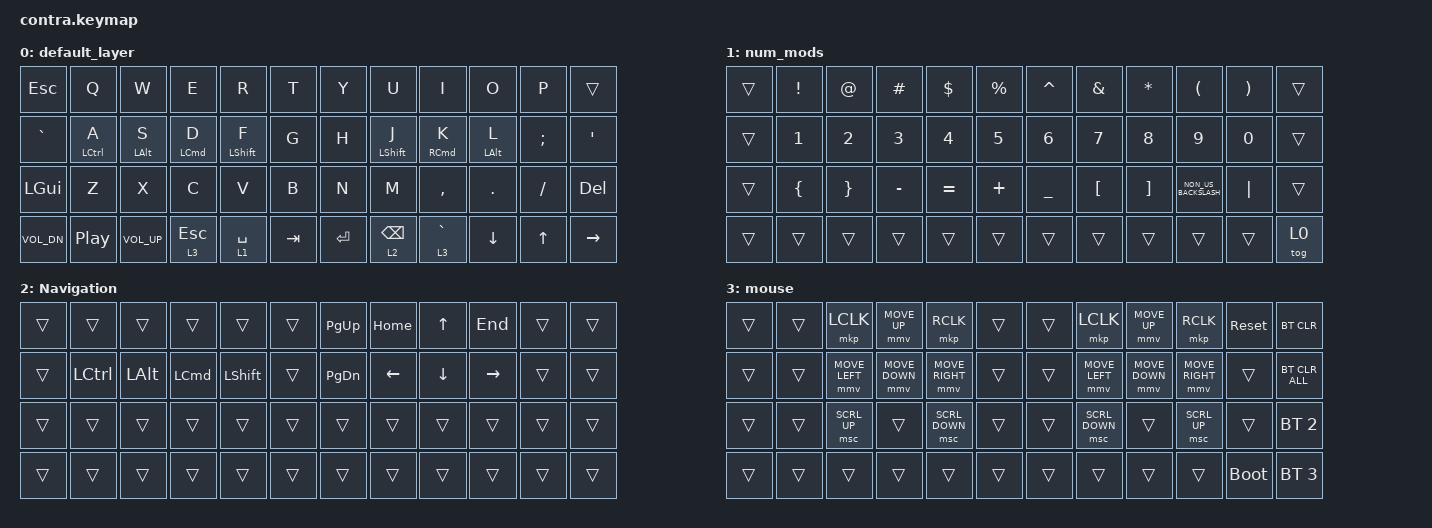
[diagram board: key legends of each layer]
/*
 * Copyright (c) 2021 The ZMK Contributors
 *
 * SPDX-License-Identifier: MIT
 */

#include <dt-bindings/zmk/mouse.h>

#define ZMK_POINTING_DEFAULT_MOVE_VAL 1500  // default: 600
#define ZMK_POINTING_DEFAULT_SCRL_VAL 10    // default: 10

#include <behaviors.dtsi>
#include <dt-bindings/zmk/bt.h>
#include <dt-bindings/zmk/keys.h>
#include <dt-bindings/zmk/pointing.h>

/ {
    behaviors {
        ModTap: ModTap {
            compatible = "zmk,behavior-hold-tap";
            label = "MODTAP";
            bindings = <&kp>, <&kp>;

            #binding-cells = <2>;
            tapping-term-ms = <200>;
            flavor = "tap-preferred";
        };
    };

    keymap {
        compatible = "zmk,keymap";

        default_layer {
            bindings = <
&kp ESCAPE    &kp Q                   &kp W               &kp E                   &kp R                 &kp T    &kp Y      &kp U                 &kp I                    &kp O               &kp P         &trans
&kp GRAVE     &ModTap LEFT_CONTROL A  &ModTap LEFT_ALT S  &ModTap LEFT_COMMAND D  &ModTap LEFT_SHIFT F  &kp G    &kp H      &ModTap LEFT_SHIFT J  &ModTap RIGHT_COMMAND K  &ModTap LEFT_ALT L  &kp SEMI      &kp SQT
&kp LEFT_GUI  &kp Z                   &kp X               &kp C                   &kp V                 &kp B    &kp N      &kp M                 &kp COMMA                &kp DOT             &kp FSLH      &kp DELETE
&kp C_VOL_DN  &kp C_PLAY_PAUSE        &kp C_VOL_UP        &lt 3 ESCAPE            &lt 1 SPACE           &kp TAB  &kp ENTER  &lt 2 BACKSPACE       &lt 3 GRAVE              &kp DOWN            &kp UP_ARROW  &kp RIGHT
            >;
        };

        num_mods {
            bindings = <
&trans  &kp EXCLAMATION  &kp AT_SIGN      &kp HASH      &kp DOLLAR    &kp PERCENT  &kp CARET     &kp AMPERSAND     &kp ASTERISK       &kp LEFT_PARENTHESIS  &kp RIGHT_PARENTHESIS  &trans
&trans  &kp NUMBER_1     &kp NUMBER_2     &kp NUMBER_3  &kp NUMBER_4  &kp N5       &kp NUMBER_6  &kp N7            &kp N8             &kp N9                &kp N0                 &trans
&trans  &kp LEFT_BRACE   &kp RIGHT_BRACE  &kp MINUS     &kp EQUAL     &kp PLUS     &kp UNDER     &kp LEFT_BRACKET  &kp RIGHT_BRACKET  &kp NON_US_BACKSLASH  &kp PIPE               &trans
&trans  &trans           &trans           &trans        &trans        &trans       &trans        &trans            &trans             &trans                &trans                 &tog 0
            >;
        };

        Navigation {
            bindings = <
&trans  &trans            &trans        &trans            &trans     &trans  &kp PG_UP  &kp HOME        &kp UP_ARROW  &kp END    &trans  &trans
&trans  &kp LEFT_CONTROL  &kp LEFT_ALT  &kp LEFT_COMMAND  &kp LSHFT  &trans  &kp PG_DN  &kp LEFT_ARROW  &kp DOWN      &kp RIGHT  &trans  &trans
&trans  &trans            &trans        &trans            &trans     &trans  &trans     &trans          &trans        &trans     &trans  &trans
&trans  &trans            &trans        &trans            &trans     &trans  &trans     &trans          &trans        &trans     &trans  &trans
            >;
        };

        mouse {
            bindings = <
&trans  &trans  &mkp LCLK       &mmv MOVE_UP    &mkp RCLK        &trans  &trans  &mkp LCLK       &mmv MOVE_UP    &mkp RCLK        &sys_reset   &bt BT_CLR
&trans  &trans  &mmv MOVE_LEFT  &mmv MOVE_DOWN  &mmv MOVE_RIGHT  &trans  &trans  &mmv MOVE_LEFT  &mmv MOVE_DOWN  &mmv MOVE_RIGHT  &trans       &bt BT_CLR_ALL
&trans  &trans  &msc SCRL_UP    &trans          &msc SCRL_DOWN   &trans  &trans  &msc SCRL_DOWN  &trans          &msc SCRL_UP     &trans       &bt BT_SEL 2
&trans  &trans  &trans          &trans          &trans           &trans  &trans  &trans          &trans          &trans           &bootloader  &bt BT_SEL 3
            >;
        };
    };
};
